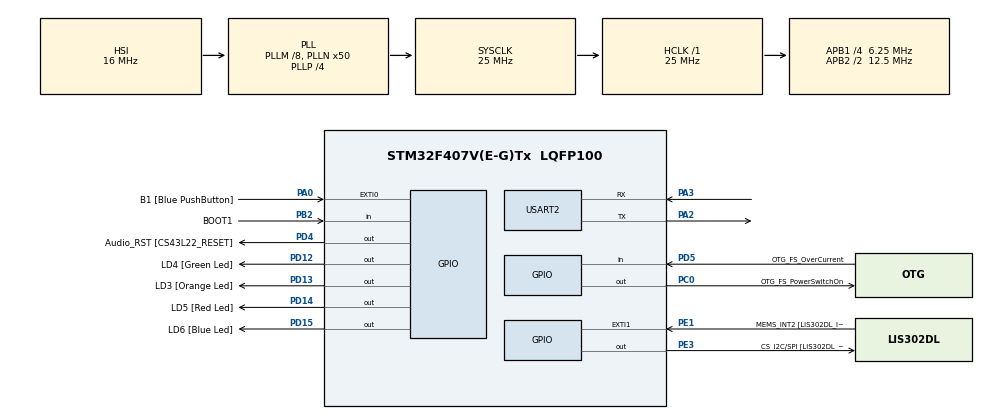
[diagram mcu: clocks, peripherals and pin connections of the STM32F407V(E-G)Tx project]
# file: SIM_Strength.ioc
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FREERTOS.Tasks01=defaultTask,0,128,StartDefaultTask,Default,NULL,Dynamic,NULL,NULL
Mcu.Family=STM32F4
Mcu.Name=STM32F407V(E-G)Tx
Mcu.Package=LQFP100
NVIC.PriorityGroup=NVIC_PRIORITYGROUP_4
NVIC.TIM6_DAC_IRQn=true\:15\:0\:false\:false\:true\:false\:false\:true\:true
NVIC.TimeBase=TIM6_DAC_IRQn
NVIC.TimeBaseIP=TIM6
NVIC.USART2_IRQn=true\:6\:0\:true\:false\:true\:true\:true\:true\:true
PA0-WKUP.GPIO_Label=B1 [Blue PushButton]
PA0-WKUP.Signal=GPXTI0
PA10.GPIO_Label=OTG_FS_ID
PA10.GPIO_Mode=GPIO_MODE_AF_PP
PA10.GPIO_PuPd=GPIO_NOPULL
PA10.GPIO_Speed=GPIO_SPEED_FREQ_LOW
PA10.Signal=USB_OTG_FS_ID
PA11.GPIO_Label=OTG_FS_DM
PA11.GPIO_Mode=GPIO_MODE_AF_PP
PA11.GPIO_PuPd=GPIO_NOPULL
PA11.GPIO_Speed=GPIO_SPEED_FREQ_LOW
PA11.Signal=USB_OTG_FS_DM
PA12.GPIO_Label=OTG_FS_DP
PA12.GPIO_Mode=GPIO_MODE_AF_PP
PA12.GPIO_PuPd=GPIO_NOPULL
PA12.GPIO_Speed=GPIO_SPEED_FREQ_LOW
PA12.Signal=USB_OTG_FS_DP
PA13.GPIO_Label=SWDIO
PA13.Signal=SYS_JTMS-SWDIO
PA14.GPIO_Label=SWCLK
PA14.Signal=SYS_JTCK-SWCLK
PA2.Mode=Asynchronous
PA2.Signal=USART2_TX
PA3.Mode=Asynchronous
PA3.Signal=USART2_RX
PA4.GPIO_Label=I2S3_WS [CS43L22_LRCK]
PA4.GPIO_Mode=GPIO_MODE_AF_PP
PA4.GPIO_PuPd=GPIO_NOPULL
PA4.GPIO_Speed=GPIO_SPEED_FREQ_LOW
PA4.Signal=I2S3_WS
PA5.GPIO_Label=SPI1_SCK [LIS302DL_SCL/SPC]
PA5.GPIO_Mode=GPIO_MODE_AF_PP
PA5.GPIO_PuPd=GPIO_NOPULL
PA5.GPIO_Speed=GPIO_SPEED_FREQ_LOW
PA5.Signal=SPI1_SCK
PA6.GPIO_Label=SPI1_MISO [LIS302DL_SDO]
PA6.GPIO_Mode=GPIO_MODE_AF_PP
PA6.GPIO_PuPd=GPIO_NOPULL
PA6.GPIO_Speed=GPIO_SPEED_FREQ_LOW
PA6.Signal=SPI1_MISO
PA7.GPIO_Label=SPI1_MOSI [LIS302DL_SDA/SDI/SDO]
PA7.GPIO_Mode=GPIO_MODE_AF_PP
PA7.GPIO_PuPd=GPIO_NOPULL
PA7.GPIO_Speed=GPIO_SPEED_FREQ_LOW
PA7.Signal=SPI1_MOSI
PA9.GPIO_Label=VBUS_FS
PA9.GPIO_Mode=GPIO_MODE_INPUT
PA9.GPIO_PuPd=GPIO_NOPULL
PA9.Signal=USB_OTG_FS_VBUS
PB10.GPIO_Label=CLK_IN [MP45DT02_CLK]
PB10.GPIO_Mode=GPIO_MODE_AF_PP
PB10.GPIO_PuPd=GPIO_NOPULL
PB10.GPIO_Speed=GPIO_SPEED_FREQ_LOW
PB10.Signal=I2S2_CK
PB2.GPIO_Label=BOOT1
PB2.GPIO_Mode=GPIO_MODE_INPUT
PB2.GPIO_PuPd=GPIO_NOPULL
PB2.Signal=GPIO_Input
PB3.GPIO_Label=SWO
PB3.Signal=SYS_JTDO-SWO
PB6.GPIO_Label=Audio_SCL [CS43L22_SCL]
PB6.GPIO_Mode=GPIO_MODE_AF_OD
PB6.GPIO_PuPd=GPIO_NOPULL
PB6.GPIO_Speed=GPIO_SPEED_FREQ_LOW
PB6.Signal=I2C1_SCL
PB9.GPIO_Label=Audio_SDA [CS43L22_SDA]
PB9.GPIO_Mode=GPIO_MODE_AF_OD
PB9.GPIO_PuPd=GPIO_NOPULL
PB9.GPIO_Speed=GPIO_SPEED_FREQ_LOW
PB9.Signal=I2C1_SDA
PC0.GPIO_Label=OTG_FS_PowerSwitchOn
PC0.GPIO_PuPd=GPIO_NOPULL
PC0.GPIO_Speed=GPIO_SPEED_FREQ_LOW
PC0.PinState=GPIO_PIN_SET
PC0.Signal=GPIO_Output
PC10.GPIO_Label=I2S3_SCK [CS43L22_SCLK]
PC10.GPIO_Mode=GPIO_MODE_AF_PP
PC10.GPIO_PuPd=GPIO_NOPULL
PC10.GPIO_Speed=GPIO_SPEED_FREQ_LOW
PC10.Signal=I2S3_CK
PC12.GPIO_Label=I2S3_SD [CS43L22_SDIN]
PC12.GPIO_Mode=GPIO_MODE_AF_PP
PC12.GPIO_PuPd=GPIO_NOPULL
PC12.GPIO_Speed=GPIO_SPEED_FREQ_LOW
PC12.Signal=I2S3_SD
PC14-OSC32_IN.GPIO_Label=PC14-OSC32_IN
PC14-OSC32_IN.Signal=RCC_OSC32_IN
PC15-OSC32_OUT.GPIO_Label=PC15-OSC32_OUT
PC15-OSC32_OUT.Signal=RCC_OSC32_OUT
PC3.GPIO_Label=PDM_OUT [MP45DT02_DOUT]
PC3.GPIO_Mode=GPIO_MODE_AF_PP
PC3.GPIO_PuPd=GPIO_NOPULL
PC3.GPIO_Speed=GPIO_SPEED_FREQ_LOW
PC3.Signal=I2S2_SD
PC7.GPIO_Label=I2S3_MCK [CS43L22_MCLK]
PC7.GPIO_Mode=GPIO_MODE_AF_PP
PC7.GPIO_PuPd=GPIO_NOPULL
PC7.GPIO_Speed=GPIO_SPEED_FREQ_LOW
PC7.Signal=I2S3_MCK
PD12.GPIO_Label=LD4 [Green Led]
PD12.GPIO_PuPd=GPIO_NOPULL
PD12.GPIO_Speed=GPIO_SPEED_FREQ_LOW
PD12.Signal=GPIO_Output
PD13.GPIO_Label=LD3 [Orange Led]
PD13.GPIO_PuPd=GPIO_NOPULL
PD13.GPIO_Speed=GPIO_SPEED_FREQ_LOW
PD13.Signal=GPIO_Output
PD14.GPIO_Label=LD5 [Red Led]
PD14.GPIO_PuPd=GPIO_NOPULL
PD14.GPIO_Speed=GPIO_SPEED_FREQ_LOW
PD14.Signal=GPIO_Output
PD15.GPIO_Label=LD6 [Blue Led]
PD15.GPIO_PuPd=GPIO_NOPULL
PD15.GPIO_Speed=GPIO_SPEED_FREQ_LOW
PD15.Signal=GPIO_Output
PD4.GPIO_Label=Audio_RST [CS43L22_RESET]
PD4.GPIO_PuPd=GPIO_NOPULL
PD4.GPIO_Speed=GPIO_SPEED_FREQ_LOW
PD4.Signal=GPIO_Output
PD5.GPIO_Label=OTG_FS_OverCurrent
PD5.GPIO_Mode=GPIO_MODE_INPUT
PD5.GPIO_PuPd=GPIO_NOPULL
PD5.Signal=GPIO_Input
PE1.GPIO_Label=MEMS_INT2 [LIS302DL_INT2]
PE1.GPIO_ModeDefaultEXTI=GPIO_MODE_EVT_RISING
PE1.GPIO_PuPd=GPIO_NOPULL
PE1.Signal=GPXTI1
PE3.GPIO_Label=CS_I2C/SPI [LIS302DL_CS_I2C/SPI]
PE3.GPIO_PuPd=GPIO_NOPULL
PE3.GPIO_Speed=GPIO_SPEED_FREQ_LOW
PE3.Signal=GPIO_Output
PH0-OSC_IN.GPIO_Label=PH0-OSC_IN
PH0-OSC_IN.Signal=RCC_OSC_IN
PH1-OSC_OUT.GPIO_Label=PH1-OSC_OUT
PH1-OSC_OUT.Signal=RCC_OSC_OUT
ProjectManager.HeapSize=0x200
ProjectManager.StackSize=0x400
ProjectManager.TargetToolchain=STM32CubeIDE
RCC.48MHZClocksFreq_Value=14285714.285714285
RCC.AHBFreq_Value=25000000
RCC.APB1CLKDivider=RCC_HCLK_DIV4
RCC.APB1Freq_Value=6250000
RCC.APB1TimFreq_Value=12500000
RCC.APB2CLKDivider=RCC_HCLK_DIV2
RCC.APB2Freq_Value=12500000
RCC.APB2TimFreq_Value=25000000
RCC.CortexFreq_Value=25000000
RCC.HCLKFreq_Value=25000000
RCC.HSE_VALUE=8000000
RCC.HSI_VALUE=16000000
RCC.LSE_VALUE=32768
RCC.PLLM=8
RCC.PLLN=50
RCC.PLLP=RCC_PLLP_DIV4
RCC.PLLQ=7
RCC.SYSCLKFreq_VALUE=25000000
RCC.SYSCLKSource=RCC_SYSCLKSOURCE_PLLCLK
RCC.VCOOutputFreq_Value=100000000
USART2.VirtualMode=VM_ASYNC
VP_FREERTOS_VS_CMSIS_V1.Mode=CMSIS_V1
VP_SYS_VS_tim6.Mode=TIM6
board=STM32F407G-DISC1

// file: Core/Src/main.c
/* USER CODE BEGIN Header */
/**
  ******************************************************************************
  * @file           : main.c
  * @brief          : Main program body
  ******************************************************************************
  * @attention
  *
  * Copyright (c) 2024 STMicroelectronics.
  * All rights reserved.
  *
  * This software is licensed under terms that can be found in the LICENSE file
  * in the root directory of this software component.
  * If no LICENSE file comes with this software, it is provided AS-IS.
  *
  ******************************************************************************
  */
/* USER CODE END Header */
#include "main.h"
#include "cmsis_os.h"

/* USER CODE BEGIN Includes */
#include "FreeRTOS.h"
#include <stdio.h>
#include "gsm.h"
/* USER CODE END Includes */

osThreadId defaultTaskHandle;

void SystemClock_Config(void);
static void MX_GPIO_Init(void);
static void MX_USART2_UART_Init(void);
void StartDefaultTask(void const * argument);

/* USER CODE BEGIN PFP */
static void gsm_handler(void* parameters);
static void gsm_msg_handler(void* parameters);
/* USER CODE END PFP */

int main(void)
{
  /* USER CODE BEGIN 1 */
	TaskHandle_t task1_handle;
	TaskHandle_t task_handle;
	BaseType_t status;
  /* USER CODE END 1 */

  /* MCU Configuration--------------------------------------------------------*/

  /* Reset of all peripherals, Initializes the Flash interface and the Systick. */
  HAL_Init();

  /* Configure the system clock */
  SystemClock_Config();

  /* Initialize all configured peripherals */
  MX_GPIO_Init();
  MX_USART2_UART_Init();
  /* USER CODE BEGIN 2 */
  gsm_init();

  status = xTaskCreate(gsm_msg_handler,
              "GSM_msg_task",
              512,
              NULL,
              2,
              &task_handle
                            );

  configASSERT(status == pdPASS);

  status = xTaskCreate(gsm_handler,
              "GSM_task",
              512,
              NULL,
              2,
              &task1_handle
                            );

  configASSERT(status == pdPASS);

  vTaskStartScheduler();

  /* USER CODE END 2 */

  /* Create the thread(s) */
  /* definition and creation of defaultTask */
  osThreadDef(defaultTask, StartDefaultTask, osPriorityNormal, 0, 128);
  defaultTaskHandle = osThreadCreate(osThread(defaultTask), NULL);

  /* Start scheduler */
  osKernelStart();

  /* We should never get here as control is now taken by the scheduler */
  /* Infinite loop */
  while (1)
  {

  }
}

void SystemClock_Config(void)
{
  RCC_OscInitTypeDef RCC_OscInitStruct = {0};
  RCC_ClkInitTypeDef RCC_ClkInitStruct = {0};

  /** Configure the main internal regulator output voltage
  */
  __HAL_RCC_PWR_CLK_ENABLE();
  __HAL_PWR_VOLTAGESCALING_CONFIG(PWR_REGULATOR_VOLTAGE_SCALE1);

  /** Initializes the RCC Oscillators according to the specified parameters
  * in the RCC_OscInitTypeDef structure.
  */
  RCC_OscInitStruct.OscillatorType = RCC_OSCILLATORTYPE_HSI;
  RCC_OscInitStruct.HSIState = RCC_HSI_ON;
  RCC_OscInitStruct.HSICalibrationValue = RCC_HSICALIBRATION_DEFAULT;
  RCC_OscInitStruct.PLL.PLLState = RCC_PLL_ON;
  RCC_OscInitStruct.PLL.PLLSource = RCC_PLLSOURCE_HSI;
  RCC_OscInitStruct.PLL.PLLM = 8;
  RCC_OscInitStruct.PLL.PLLN = 50;
  RCC_OscInitStruct.PLL.PLLP = RCC_PLLP_DIV4;
  RCC_OscInitStruct.PLL.PLLQ = 7;
  if (HAL_RCC_OscConfig(&RCC_OscInitStruct) != HAL_OK)
  {
    Error_Handler();
  }

  /** Initializes the CPU, AHB and APB buses clocks
  */
  RCC_ClkInitStruct.ClockType = RCC_CLOCKTYPE_HCLK|RCC_CLOCKTYPE_SYSCLK
                              |RCC_CLOCKTYPE_PCLK1|RCC_CLOCKTYPE_PCLK2;
  RCC_ClkInitStruct.SYSCLKSource = RCC_SYSCLKSOURCE_PLLCLK;
  RCC_ClkInitStruct.AHBCLKDivider = RCC_SYSCLK_DIV1;
  RCC_ClkInitStruct.APB1CLKDivider = RCC_HCLK_DIV4;
  RCC_ClkInitStruct.APB2CLKDivider = RCC_HCLK_DIV2;

  if (HAL_RCC_ClockConfig(&RCC_ClkInitStruct, FLASH_LATENCY_0) != HAL_OK)
  {
    Error_Handler();
  }
}

static void MX_USART2_UART_Init(void)
{

  LL_USART_InitTypeDef USART_InitStruct = {0};

  LL_GPIO_InitTypeDef GPIO_InitStruct = {0};

  /* Peripheral clock enable */
  LL_APB1_GRP1_EnableClock(LL_APB1_GRP1_PERIPH_USART2);

  LL_AHB1_GRP1_EnableClock(LL_AHB1_GRP1_PERIPH_GPIOA);
  /**USART2 GPIO Configuration
  PA2   ------> USART2_TX
  PA3   ------> USART2_RX
  */
  GPIO_InitStruct.Pin = LL_GPIO_PIN_2|LL_GPIO_PIN_3;
  GPIO_InitStruct.Mode = LL_GPIO_MODE_ALTERNATE;
  GPIO_InitStruct.Speed = LL_GPIO_SPEED_FREQ_VERY_HIGH;
  GPIO_InitStruct.OutputType = LL_GPIO_OUTPUT_PUSHPULL;
  GPIO_InitStruct.Pull = LL_GPIO_PULL_NO;
  GPIO_InitStruct.Alternate = LL_GPIO_AF_7;
  LL_GPIO_Init(GPIOA, &GPIO_InitStruct);

  /* USART2 interrupt Init */
  NVIC_SetPriority(USART2_IRQn, NVIC_EncodePriority(NVIC_GetPriorityGrouping(),6, 0));
  NVIC_EnableIRQ(USART2_IRQn);

  USART_InitStruct.BaudRate = 115200;
  USART_InitStruct.DataWidth = LL_USART_DATAWIDTH_8B;
  USART_InitStruct.StopBits = LL_USART_STOPBITS_1;
  USART_InitStruct.Parity = LL_USART_PARITY_NONE;
  USART_InitStruct.TransferDirection = LL_USART_DIRECTION_TX_RX;
  USART_InitStruct.HardwareFlowControl = LL_USART_HWCONTROL_NONE;
  USART_InitStruct.OverSampling = LL_USART_OVERSAMPLING_16;
  LL_USART_Init(USART2, &USART_InitStruct);
  LL_USART_ConfigAsyncMode(USART2);
  LL_USART_Enable(USART2);

}

static void MX_GPIO_Init(void)
{
  GPIO_InitTypeDef GPIO_InitStruct = {0};

  /* GPIO Ports Clock Enable */
  __HAL_RCC_GPIOE_CLK_ENABLE();
  __HAL_RCC_GPIOC_CLK_ENABLE();
  __HAL_RCC_GPIOH_CLK_ENABLE();
  __HAL_RCC_GPIOA_CLK_ENABLE();
  __HAL_RCC_GPIOB_CLK_ENABLE();
  __HAL_RCC_GPIOD_CLK_ENABLE();

  /*Configure GPIO pin Output Level */
  HAL_GPIO_WritePin(CS_I2C_SPI_GPIO_Port, CS_I2C_SPI_Pin, GPIO_PIN_RESET);

  /*Configure GPIO pin Output Level */
  HAL_GPIO_WritePin(OTG_FS_PowerSwitchOn_GPIO_Port, OTG_FS_PowerSwitchOn_Pin, GPIO_PIN_SET);

  /*Configure GPIO pin Output Level */
  HAL_GPIO_WritePin(GPIOD, LD4_Pin|LD3_Pin|LD5_Pin|LD6_Pin
                          |Audio_RST_Pin, GPIO_PIN_RESET);

  /*Configure GPIO pin : CS_I2C_SPI_Pin */
  GPIO_InitStruct.Pin = CS_I2C_SPI_Pin;
  GPIO_InitStruct.Mode = GPIO_MODE_OUTPUT_PP;
  GPIO_InitStruct.Pull = GPIO_NOPULL;
  GPIO_InitStruct.Speed = GPIO_SPEED_FREQ_LOW;
  HAL_GPIO_Init(CS_I2C_SPI_GPIO_Port, &GPIO_InitStruct);

  /*Configure GPIO pin : OTG_FS_PowerSwitchOn_Pin */
  GPIO_InitStruct.Pin = OTG_FS_PowerSwitchOn_Pin;
  GPIO_InitStruct.Mode = GPIO_MODE_OUTPUT_PP;
  GPIO_InitStruct.Pull = GPIO_NOPULL;
  GPIO_InitStruct.Speed = GPIO_SPEED_FREQ_LOW;
  HAL_GPIO_Init(OTG_FS_PowerSwitchOn_GPIO_Port, &GPIO_InitStruct);

  /*Configure GPIO pin : PDM_OUT_Pin */
  GPIO_InitStruct.Pin = PDM_OUT_Pin;
  GPIO_InitStruct.Mode = GPIO_MODE_AF_PP;
  GPIO_InitStruct.Pull = GPIO_NOPULL;
  GPIO_InitStruct.Speed = GPIO_SPEED_FREQ_LOW;
  GPIO_InitStruct.Alternate = GPIO_AF5_SPI2;
  HAL_GPIO_Init(PDM_OUT_GPIO_Port, &GPIO_InitStruct);

  /*Configure GPIO pin : B1_Pin */
  GPIO_InitStruct.Pin = B1_Pin;
  GPIO_InitStruct.Mode = GPIO_MODE_IT_RISING;
  GPIO_InitStruct.Pull = GPIO_NOPULL;
  HAL_GPIO_Init(B1_GPIO_Port, &GPIO_InitStruct);

  /*Configure GPIO pin : I2S3_WS_Pin */
  GPIO_InitStruct.Pin = I2S3_WS_Pin;
  GPIO_InitStruct.Mode = GPIO_MODE_AF_PP;
  GPIO_InitStruct.Pull = GPIO_NOPULL;
  GPIO_InitStruct.Speed = GPIO_SPEED_FREQ_LOW;
  GPIO_InitStruct.Alternate = GPIO_AF6_SPI3;
  HAL_GPIO_Init(I2S3_WS_GPIO_Port, &GPIO_InitStruct);

  /*Configure GPIO pins : SPI1_SCK_Pin SPI1_MISO_Pin SPI1_MOSI_Pin */
  GPIO_InitStruct.Pin = SPI1_SCK_Pin|SPI1_MISO_Pin|SPI1_MOSI_Pin;
  GPIO_InitStruct.Mode = GPIO_MODE_AF_PP;
  GPIO_InitStruct.Pull = GPIO_NOPULL;
  GPIO_InitStruct.Speed = GPIO_SPEED_FREQ_LOW;
  GPIO_InitStruct.Alternate = GPIO_AF5_SPI1;
  HAL_GPIO_Init(GPIOA, &GPIO_InitStruct);

  /*Configure GPIO pin : BOOT1_Pin */
  GPIO_InitStruct.Pin = BOOT1_Pin;
  GPIO_InitStruct.Mode = GPIO_MODE_INPUT;
  GPIO_InitStruct.Pull = GPIO_NOPULL;
  HAL_GPIO_Init(BOOT1_GPIO_Port, &GPIO_InitStruct);

  /*Configure GPIO pin : CLK_IN_Pin */
  GPIO_InitStruct.Pin = CLK_IN_Pin;
  GPIO_InitStruct.Mode = GPIO_MODE_AF_PP;
  GPIO_InitStruct.Pull = GPIO_NOPULL;
  GPIO_InitStruct.Speed = GPIO_SPEED_FREQ_LOW;
  GPIO_InitStruct.Alternate = GPIO_AF5_SPI2;
  HAL_GPIO_Init(CLK_IN_GPIO_Port, &GPIO_InitStruct);

  /*Configure GPIO pins : LD4_Pin LD3_Pin LD5_Pin LD6_Pin
                           Audio_RST_Pin */
  GPIO_InitStruct.Pin = LD4_Pin|LD3_Pin|LD5_Pin|LD6_Pin
                          |Audio_RST_Pin;
  GPIO_InitStruct.Mode = GPIO_MODE_OUTPUT_PP;
  GPIO_InitStruct.Pull = GPIO_NOPULL;
  GPIO_InitStruct.Speed = GPIO_SPEED_FREQ_LOW;
  HAL_GPIO_Init(GPIOD, &GPIO_InitStruct);

  /*Configure GPIO pins : I2S3_MCK_Pin I2S3_SCK_Pin I2S3_SD_Pin */
  GPIO_InitStruct.Pin = I2S3_MCK_Pin|I2S3_SCK_Pin|I2S3_SD_Pin;
  GPIO_InitStruct.Mode = GPIO_MODE_AF_PP;
  GPIO_InitStruct.Pull = GPIO_NOPULL;
  GPIO_InitStruct.Speed = GPIO_SPEED_FREQ_LOW;
  GPIO_InitStruct.Alternate = GPIO_AF6_SPI3;
  HAL_GPIO_Init(GPIOC, &GPIO_InitStruct);

  /*Configure GPIO pin : VBUS_FS_Pin */
  GPIO_InitStruct.Pin = VBUS_FS_Pin;
  GPIO_InitStruct.Mode = GPIO_MODE_INPUT;
  GPIO_InitStruct.Pull = GPIO_NOPULL;
  HAL_GPIO_Init(VBUS_FS_GPIO_Port, &GPIO_InitStruct);

  /*Configure GPIO pins : OTG_FS_ID_Pin OTG_FS_DM_Pin OTG_FS_DP_Pin */
  GPIO_InitStruct.Pin = OTG_FS_ID_Pin|OTG_FS_DM_Pin|OTG_FS_DP_Pin;
  GPIO_InitStruct.Mode = GPIO_MODE_AF_PP;
  GPIO_InitStruct.Pull = GPIO_NOPULL;
  GPIO_InitStruct.Speed = GPIO_SPEED_FREQ_LOW;
  GPIO_InitStruct.Alternate = GPIO_AF10_OTG_FS;
  HAL_GPIO_Init(GPIOA, &GPIO_InitStruct);

  /*Configure GPIO pin : OTG_FS_OverCurrent_Pin */
  GPIO_InitStruct.Pin = OTG_FS_OverCurrent_Pin;
  GPIO_InitStruct.Mode = GPIO_MODE_INPUT;
  GPIO_InitStruct.Pull = GPIO_NOPULL;
  HAL_GPIO_Init(OTG_FS_OverCurrent_GPIO_Port, &GPIO_InitStruct);

  /*Configure GPIO pins : Audio_SCL_Pin Audio_SDA_Pin */
  GPIO_InitStruct.Pin = Audio_SCL_Pin|Audio_SDA_Pin;
  GPIO_InitStruct.Mode = GPIO_MODE_AF_OD;
  GPIO_InitStruct.Pull = GPIO_NOPULL;
  GPIO_InitStruct.Speed = GPIO_SPEED_FREQ_LOW;
  GPIO_InitStruct.Alternate = GPIO_AF4_I2C1;
  HAL_GPIO_Init(GPIOB, &GPIO_InitStruct);

  /*Configure GPIO pin : MEMS_INT2_Pin */
  GPIO_InitStruct.Pin = MEMS_INT2_Pin;
  GPIO_InitStruct.Mode = GPIO_MODE_EVT_RISING;
  GPIO_InitStruct.Pull = GPIO_NOPULL;
  HAL_GPIO_Init(MEMS_INT2_GPIO_Port, &GPIO_InitStruct);

}

/* USER CODE BEGIN 4 */

static void gsm_msg_handler(void* parameters)
{
	while (1)
	{
//		gsm_getSignalQuality_0_to_100();
	}
}

static void gsm_handler(void* parameters)
{
	  //gsm_waitForRegister(30);
	  gsm_init();
	  gsm_power(true);
	  gsm_msg_send("+919020770234", "Hello! This is a test message from Mathew");
	  while (1)
	  {
//		  gsm_msg_send("+919020770234", "TEST MSG 1");
	  }
}

/* USER CODE END 4 */

void StartDefaultTask(void const * argument)
{
  for(;;)
  {
    osDelay(1);
  }
}

void HAL_TIM_PeriodElapsedCallback(TIM_HandleTypeDef *htim)
{
  if (htim->Instance == TIM6) {
    HAL_IncTick();
  }
}

void Error_Handler(void)
{
  __disable_irq();
  while (1)
  {
  }
}
